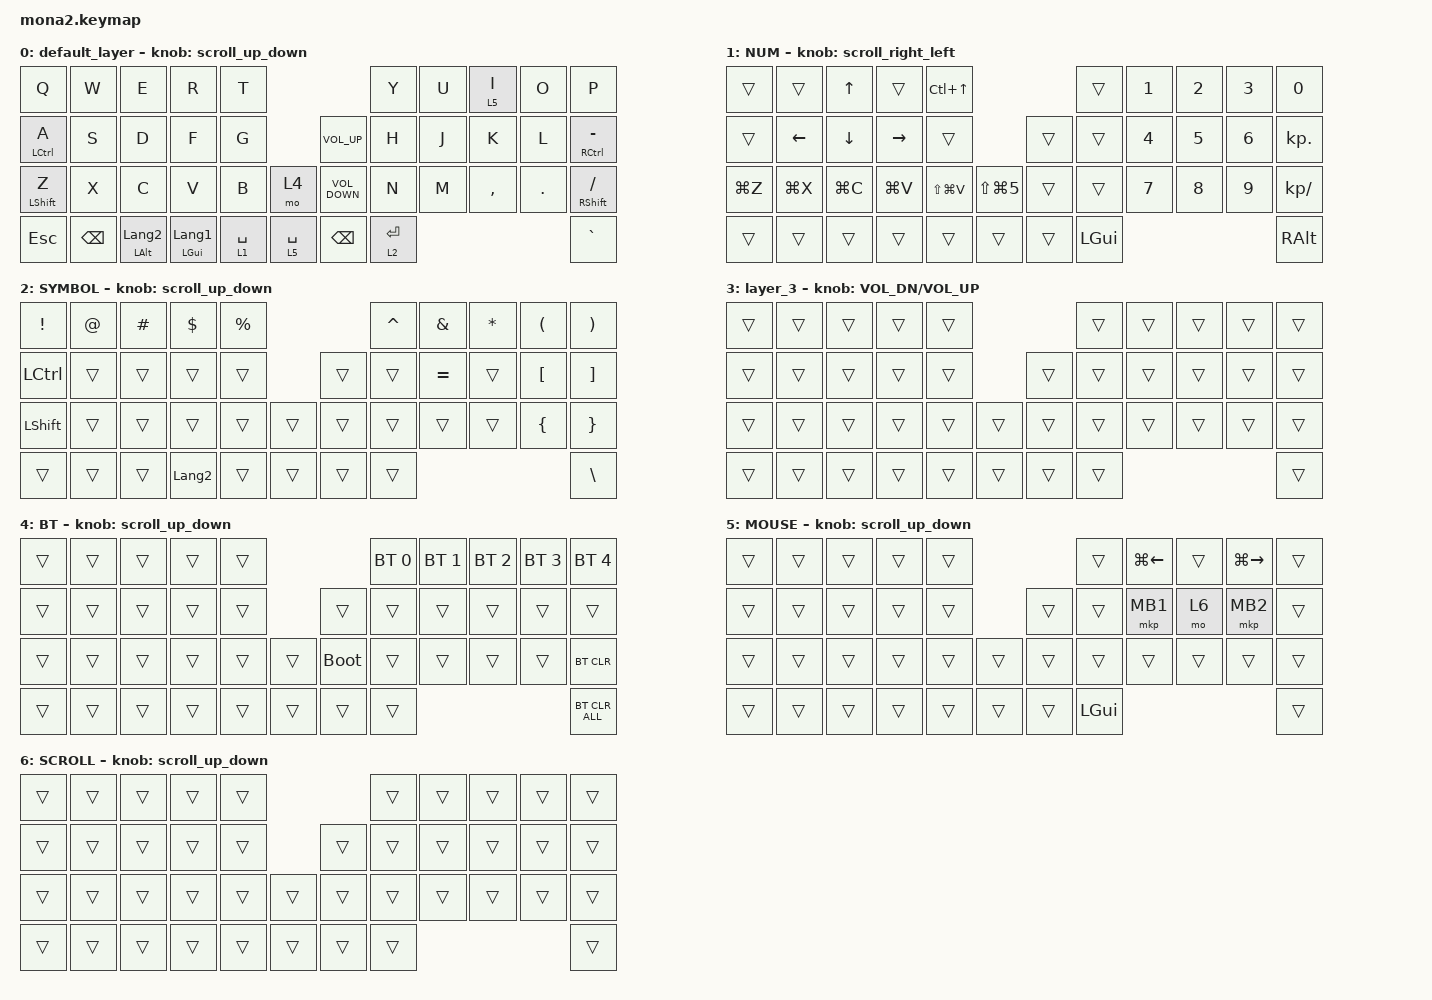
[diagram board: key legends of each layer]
#include <input/processors.dtsi>
#include <dt-bindings/zmk/input_transform.h>
#include <zephyr/dt-bindings/input/input-event-codes.h>
#include <behaviors.dtsi>
#include <dt-bindings/zmk/bt.h>
#include <dt-bindings/zmk/keys.h>
#include <dt-bindings/zmk/pointing.h>

#define ZMK_POINTING_DEFAULT_SCRL_VAL 100
#define MOUSE 5
#define SCROLL 6

&mt {
    flavor = "balanced";
    quick-tap-ms = <0>;
};

/ {
    combos {
        compatible = "zmk,combos";

        shift_tab {
            bindings = <&kp LS(TAB)>;
            key-positions = <12 13>;
        };

        tab {
            bindings = <&kp TAB>;
            key-positions = <11 12>;
        };

        semi_colon {
            bindings = <&kp SEMICOLON>;
            key-positions = <18 19>;
        };

        sqt {
            bindings = <&kp SQT>;
            key-positions = <19 20>;
        };

        dqt {
            bindings = <&kp DOUBLE_QUOTES>;
            key-positions = <19 20 21>;
        };

        colon {
            bindings = <&kp COLON>;
            key-positions = <18 19 21>;
        };
    };

    macros {
        to_layer_0: to_layer_0 {
            compatible = "zmk,behavior-macro-one-param";
            #binding-cells = <1>;
            bindings = <&to 0 &macro_param_1to1 &kp MACRO_PLACEHOLDER>;
            label = "TO_LAYER_0";
        };
    };

    behaviors {
        lt_to_layer_0: lt_to_layer_0 {
            compatible = "zmk,behavior-hold-tap";
            label = "LAYER_TAP_TO_0";
            bindings = <&mo>, <&to_layer_0>;

            #binding-cells = <2>;
            tapping-term-ms = <200>;
        };

        scroll_up_down: mouse_wheel_up_down {
            compatible = "zmk,behavior-sensor-rotate";
            #sensor-binding-cells = <0>;
            bindings = <&msc SCRL_DOWN>, <&msc SCRL_UP>;

            tap-ms = <20>;
        };

        scroll_right_left: mouse_wheel_right_left {
            compatible = "zmk,behavior-sensor-rotate";
            #sensor-binding-cells = <0>;
            bindings = <&msc SCRL_LEFT>, <&msc SCRL_RIGHT>;

            tap-ms = <20>;
        };
    };

    keymap {
        compatible = "zmk,keymap";

        default_layer {
            bindings = <
&kp Q               &kp W          &kp E                    &kp R                    &kp T                                                     &kp Y        &kp U  &lt 5 I    &kp O    &kp P
&mt LEFT_CONTROL A  &kp S          &kp D                    &kp F                    &kp G                                  &kp C_VOLUME_UP    &kp H        &kp J  &kp K      &kp L    &mt RIGHT_CONTROL MINUS
&mt LEFT_SHIFT Z    &kp X          &kp C                    &kp V                    &kp B        &mo 4                     &kp C_VOLUME_DOWN  &kp N        &kp M  &kp COMMA  &kp DOT  &mt RIGHT_SHIFT SLASH
&kp ESCAPE          &kp BACKSPACE  &mt LEFT_ALT LANGUAGE_2  &mt LEFT_GUI LANGUAGE_1  &lt 1 SPACE  &lt_to_layer_0 5 SPACE    &kp BACKSPACE      &lt 2 ENTER                             &kp GRAVE
            >;

            sensor-bindings = <&scroll_up_down>;
        };

        NUM {
            bindings = <
&trans     &trans     &kp UP_ARROW  &trans     &kp LC(UP_ARROW)                                  &trans        &kp NUMBER_1  &kp NUMBER_2  &kp NUMBER_3  &kp NUMBER_0
&trans     &kp LEFT   &kp DOWN      &kp RIGHT  &trans                                    &trans  &trans        &kp NUMBER_4  &kp NUMBER_5  &kp NUMBER_6  &kp KP_DOT
&kp LG(Z)  &kp LG(X)  &kp LG(C)     &kp LG(V)  &kp LS(LG(V))     &kp LS(LG(NUMBER_5))    &trans  &trans        &kp NUMBER_7  &kp NUMBER_8  &kp NUMBER_9  &kp KP_SLASH
&trans     &trans     &trans        &trans     &trans            &trans                  &trans  &kp LEFT_GUI                                            &kp RIGHT_ALT
            >;

            sensor-bindings = <&scroll_right_left>;
        };

        SYMBOL {
            bindings = <
&kp EXCLAMATION   &kp AT_SIGN  &kp POUND  &kp DOLLAR      &kp PERCENT                    &kp CARET  &kp AMPERSAND  &kp ASTERISK  &kp LEFT_PARENTHESIS  &kp RIGHT_PARENTHESIS
&kp LEFT_CONTROL  &trans       &trans     &trans          &trans                 &trans  &trans     &kp EQUAL      &trans        &kp LEFT_BRACKET      &kp RIGHT_BRACKET
&kp LEFT_SHIFT    &trans       &trans     &trans          &trans       &trans    &trans  &trans     &trans         &trans        &kp LEFT_BRACE        &kp RIGHT_BRACE
&trans            &trans       &trans     &kp LANGUAGE_2  &trans       &trans    &trans  &trans                                                        &kp BACKSLASH
            >;

            sensor-bindings = <&scroll_up_down>;
        };

        layer_3 {
            bindings = <
&trans  &trans  &trans  &trans  &trans                    &trans  &trans  &trans  &trans  &trans
&trans  &trans  &trans  &trans  &trans            &trans  &trans  &trans  &trans  &trans  &trans
&trans  &trans  &trans  &trans  &trans  &trans    &trans  &trans  &trans  &trans  &trans  &trans
&trans  &trans  &trans  &trans  &trans  &trans    &trans  &trans                          &trans
            >;

            sensor-bindings = <&inc_dec_kp C_VOL_DN C_VOL_UP>;
        };

        BT {
            bindings = <
&trans  &trans  &trans  &trans  &trans                         &bt BT_SEL 0  &bt BT_SEL 1  &bt BT_SEL 2  &bt BT_SEL 3  &bt BT_SEL 4
&trans  &trans  &trans  &trans  &trans            &trans       &trans        &trans        &trans        &trans        &trans
&trans  &trans  &trans  &trans  &trans  &trans    &bootloader  &trans        &trans        &trans        &trans        &bt BT_CLR
&trans  &trans  &trans  &trans  &trans  &trans    &trans       &trans                                                  &bt BT_CLR_ALL
            >;

            sensor-bindings = <&scroll_up_down>;
        };

        MOUSE {
            bindings = <
&trans  &trans  &trans  &trans  &trans                    &trans        &kp LG(LEFT)  &trans  &kp LG(RIGHT)  &trans
&trans  &trans  &trans  &trans  &trans            &trans  &trans        &mkp MB1      &mo 6   &mkp MB2       &trans
&trans  &trans  &trans  &trans  &trans  &trans    &trans  &trans        &trans        &trans  &trans         &trans
&trans  &trans  &trans  &trans  &trans  &trans    &trans  &kp LEFT_GUI                                       &trans
            >;

            sensor-bindings = <&scroll_up_down>;
        };

        SCROLL {
            bindings = <
&trans  &trans  &trans  &trans  &trans                    &trans  &trans  &trans  &trans  &trans
&trans  &trans  &trans  &trans  &trans            &trans  &trans  &trans  &trans  &trans  &trans
&trans  &trans  &trans  &trans  &trans  &trans    &trans  &trans  &trans  &trans  &trans  &trans
&trans  &trans  &trans  &trans  &trans  &trans    &trans  &trans                          &trans
            >;

            sensor-bindings = <&scroll_up_down>;
        };
    };
};
